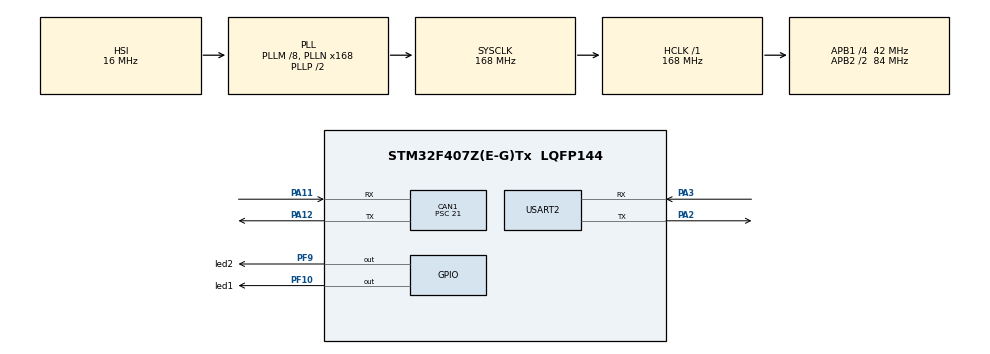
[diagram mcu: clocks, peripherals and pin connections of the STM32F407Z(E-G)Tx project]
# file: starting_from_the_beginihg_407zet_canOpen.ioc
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CAN1.BS1=CAN_BS1_2TQ
CAN1.CalculateBaudRate=500000
CAN1.CalculateTimeBit=2000
CAN1.CalculateTimeQuantum=500.0
CAN1.Prescaler=21
Mcu.Family=STM32F4
Mcu.Name=STM32F407Z(E-G)Tx
Mcu.Package=LQFP144
NVIC.CAN1_RX0_IRQn=true\:0\:0\:false\:false\:true\:true\:true\:true
NVIC.CAN1_RX1_IRQn=true\:0\:0\:false\:false\:true\:true\:true\:true
NVIC.CAN1_SCE_IRQn=true\:0\:0\:false\:false\:true\:true\:true\:true
NVIC.CAN1_TX_IRQn=true\:0\:0\:false\:false\:true\:true\:true\:true
NVIC.PriorityGroup=NVIC_PRIORITYGROUP_4
NVIC.TIM8_TRG_COM_TIM14_IRQn=true\:0\:0\:false\:false\:true\:true\:true\:true
NVIC.USART2_IRQn=true\:0\:0\:false\:false\:true\:true\:true\:true
PA11.Mode=CAN_Activate
PA11.Signal=CAN1_RX
PA12.Mode=CAN_Activate
PA12.Signal=CAN1_TX
PA13.Mode=Serial_Wire
PA13.Signal=SYS_JTMS-SWDIO
PA14.Mode=Serial_Wire
PA14.Signal=SYS_JTCK-SWCLK
PA2.Mode=Asynchronous
PA2.Signal=USART2_TX
PA3.Mode=Asynchronous
PA3.Signal=USART2_RX
PC14-OSC32_IN.Mode=LSE-External-Oscillator
PC14-OSC32_IN.Signal=RCC_OSC32_IN
PC15-OSC32_OUT.Mode=LSE-External-Oscillator
PC15-OSC32_OUT.Signal=RCC_OSC32_OUT
PF10.GPIO_Label=led1
PF10.Signal=GPIO_Output
PF9.GPIO_Label=led2
PF9.Signal=GPIO_Output
PH0-OSC_IN.Mode=HSE-External-Oscillator
PH0-OSC_IN.Signal=RCC_OSC_IN
PH1-OSC_OUT.Mode=HSE-External-Oscillator
PH1-OSC_OUT.Signal=RCC_OSC_OUT
ProjectManager.HeapSize=0x200
ProjectManager.StackSize=0x400
ProjectManager.TargetToolchain=STM32CubeIDE
RCC.48MHZClocksFreq_Value=84000000
RCC.AHBFreq_Value=168000000
RCC.APB1CLKDivider=RCC_HCLK_DIV4
RCC.APB1Freq_Value=42000000
RCC.APB1TimFreq_Value=84000000
RCC.APB2CLKDivider=RCC_HCLK_DIV2
RCC.APB2Freq_Value=84000000
RCC.APB2TimFreq_Value=168000000
RCC.CortexFreq_Value=168000000
RCC.HCLKFreq_Value=168000000
RCC.HSE_VALUE=8000000
RCC.HSI_VALUE=16000000
RCC.PLLM=8
RCC.PLLN=168
RCC.SYSCLKFreq_VALUE=168000000
RCC.SYSCLKSource=RCC_SYSCLKSOURCE_PLLCLK
RCC.VCOOutputFreq_Value=336000000
TIM14.Period=1000
TIM14.Prescaler=63
USART2.VirtualMode=VM_ASYNC
VP_TIM14_VS_ClockSourceINT.Mode=Enable_Timer
board=custom

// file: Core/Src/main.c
/* USER CODE BEGIN Header */
/**
  ******************************************************************************
  * @file           : main.c
  * @brief          : Main program body
  ******************************************************************************
  * @attention
  *
  * Copyright (c) 2024 STMicroelectronics.
  * All rights reserved.
  *
  * This software is licensed under terms that can be found in the LICENSE file
  * in the root directory of this software component.
  * If no LICENSE file comes with this software, it is provided AS-IS.
  *
  ******************************************************************************
  */
  /* USER CODE END Header */
  /* Includes ------------------------------------------------------------------*/
#include "main.h"

/* USER CODE BEGIN Includes */
#include "CO_app_STM32.h"
#include "../CANopenNode_STM32/OD.h"
#include "../CANopenNode/301/CO_driver.h"
#include "../CANopenNode/301/CO_SDOserver.h"
#include "../CANopenNode/301/CO_SDOclient.h"
#include "../CANopenNode/301/CO_NMT_Heartbeat.h"
#include "../CANopenNode/301/CO_PDO.h"
#include "../CANopenNode/301/CO_HBconsumer.h"
#include "../CANopenNode/CANopen.h"
#include "string.h"
#include <stdio.h>

/* USER CODE END Includes */

/* USER CODE BEGIN PD */
#define MASTER_NODE_ID 66
#define WHEEL_NODE_ID 0x16
/* USER CODE END PD */

CAN_HandleTypeDef hcan1;

TIM_HandleTypeDef htim14;

UART_HandleTypeDef huart2;

CO_SDOclient_t SDO_C;
CO_NMT_t NMT;
CO_CANmodule_t CANmodule;
uint8_t heartBeatData[8];
CO_CANrx_t CANrxArray[16]; // Массив буферов приема CAN сообщений
CO_CANtx_t CANtxArray[16]; // Массив буферов передачи CAN сообщений

void SystemClock_Config(void);
static void MX_GPIO_Init(void);
static void MX_CAN1_Init(void);
static void MX_TIM14_Init(void);
static void MX_USART2_UART_Init(void);

/* USER CODE BEGIN 0 */

// Функция обработки сообщений CAN
void CAN_receive(void* object, void* message) {
    CO_CANrxMsg_t* msg = (CO_CANrxMsg_t*)message;
    uint16_t canID = msg->ident;

    // Проверка на Heartbeat сообщение
    if (canID == (0x700 + WHEEL_NODE_ID)) {
        memcpy(heartBeatData, msg->data, 8);
        // Отправка данных через UART
        HAL_UART_Transmit(&huart2, (uint8_t*)"Heartbeat message received: ", strlen("Heartbeat message received: "), HAL_MAX_DELAY);
        HAL_UART_Transmit(&huart2, heartBeatData, 8, HAL_MAX_DELAY);
        HAL_UART_Transmit(&huart2, (uint8_t*)"\r\n", 2, HAL_MAX_DELAY);
    }
    else {
        HAL_UART_Transmit(&huart2, (uint8_t*)"Received CAN message with ID: ", strlen("Received CAN message with ID: "), HAL_MAX_DELAY);
        char idStr[10];
        sprintf(idStr, "0x%X", canID);
        HAL_UART_Transmit(&huart2, (uint8_t*)idStr, strlen(idStr), HAL_MAX_DELAY);
        HAL_UART_Transmit(&huart2, (uint8_t*)"\r\n", 2, HAL_MAX_DELAY);
    }
}

void HAL_TIM_PeriodElapsedCallback(TIM_HandleTypeDef* htim) {
    if (htim == &htim14) {
        canopen_app_interrupt();
    }
}

void disable_CAN_transmission(CO_CANmodule_t* CANmodule) {
    CANmodule->CANerrorStatus |= CO_CAN_ERRTX_BUS_OFF;
    // Дополнительно можно вызвать функцию, которая обработает это состояние
    CO_CANmodule_disable(CANmodule);
}

// Инициализация CANopen
void CANopen_init() {
    CO_ReturnError_t err;

    // Инициализация CAN модуля
    HAL_UART_Transmit(&huart2, (uint8_t*)"Initializing CAN module...\r\n", strlen("Initializing CAN module...\r\n"), HAL_MAX_DELAY);
    err = CO_CANmodule_init(&CANmodule, CAN1, CANrxArray, sizeof(CANrxArray) / sizeof(CANrxArray[0]), CANtxArray, sizeof(CANtxArray) / sizeof(CANtxArray[0]), 500);
    if (err != CO_ERROR_NO) {
        // Обработка ошибки
        HAL_UART_Transmit(&huart2, (uint8_t*)"CAN module initialization failed\r\n", strlen("CAN module initialization failed\r\n"), HAL_MAX_DELAY);
        return;
    }
    HAL_UART_Transmit(&huart2, (uint8_t*)"CAN module initialized successfully\r\n", strlen("CAN module initialized successfully\r\n"), HAL_MAX_DELAY);

    // Настройка функции обработки сообщений CAN
    HAL_UART_Transmit(&huart2, (uint8_t*)"Initializing CAN receive buffer...\r\n", strlen("Initializing CAN receive buffer...\r\n"), HAL_MAX_DELAY);
    CO_CANrxBufferInit(&CANmodule, 0, 0x700 + WHEEL_NODE_ID, 0x7FF, 0, NULL, CAN_receive);

    OD_entry_t* OD_1017_ProducerHbTime = OD_ENTRY_H1017;
    OD_entry_t* OD_1280_SDOcliPar = OD_ENTRY_H1280;

    uint32_t errInfo = 0;

    // Инициализация NMT и Heartbeat
    HAL_UART_Transmit(&huart2, (uint8_t*)"Initializing NMT and Heartbeat...\r\n", strlen("Initializing NMT and Heartbeat...\r\n"), HAL_MAX_DELAY);
    err = CO_NMT_init(&NMT, OD_1017_ProducerHbTime, NULL, MASTER_NODE_ID, 0, 0, &CANmodule, 0, 0x700 + MASTER_NODE_ID, &CANmodule, 0, 0x700 + MASTER_NODE_ID, &errInfo);
    if (err != CO_ERROR_NO) {
        // Обработка ошибки
        HAL_UART_Transmit(&huart2, (uint8_t*)"NMT initialization failed\r\n", strlen("NMT initialization failed\r\n"), HAL_MAX_DELAY);
        return;
    }
    HAL_UART_Transmit(&huart2, (uint8_t*)"NMT and Heartbeat initialized successfully\r\n", strlen("NMT and Heartbeat initialized successfully\r\n"), HAL_MAX_DELAY);

    // Инициализация SDO client
    HAL_UART_Transmit(&huart2, (uint8_t*)"Initializing SDO client...\r\n", strlen("Initializing SDO client...\r\n"), HAL_MAX_DELAY);
    err = CO_SDOclient_init(&SDO_C, OD, OD_1280_SDOcliPar, MASTER_NODE_ID, &CANmodule, 0, &CANmodule, 0, NULL);
    if (err != CO_ERROR_NO) {
        // Обработка ошибки
        HAL_UART_Transmit(&huart2, (uint8_t*)"SDO client initialization failed\r\n", strlen("SDO client initialization failed\r\n"), HAL_MAX_DELAY);
        return;
    }
    HAL_UART_Transmit(&huart2, (uint8_t*)"SDO client initialized successfully\r\n", strlen("SDO client initialized successfully\r\n"), HAL_MAX_DELAY);
}

// Пример функции чтения SDO
CO_SDO_abortCode_t read_SDO(CO_SDOclient_t* SDO_C, uint8_t nodeId,
    uint16_t index, uint8_t subIndex,
    uint8_t* buf, size_t bufSize, size_t* readSize)
{
    CO_SDO_return_t SDO_ret;

    // Настройка клиента
    SDO_ret = CO_SDOclient_setup(SDO_C, CO_CAN_ID_SDO_CLI + nodeId, CO_CAN_ID_SDO_SRV + nodeId, nodeId);
    if (SDO_ret != CO_SDO_RT_ok_communicationEnd) {
        return CO_SDO_AB_GENERAL;
    }

    // Инициация чтения
    SDO_ret = CO_SDOclientUploadInitiate(SDO_C, index, subIndex, 1000, 0);
    if (SDO_ret != CO_SDO_RT_ok_communicationEnd) {
        return CO_SDO_AB_GENERAL;
    }

    // Чтение данных
    size_t nRead;
    do {
        uint32_t timeDifference_us = 10000;
        CO_SDO_abortCode_t abortCode;

        SDO_ret = CO_SDOclientUpload(SDO_C, timeDifference_us, false, false, &abortCode, NULL, NULL);
        if (SDO_ret < 0) {
            return abortCode;
        }
    } while (SDO_ret > 0);

    // Копирование данных
    nRead = CO_SDOclientUploadBufRead(SDO_C, buf, bufSize);
    if (readSize) {
        *readSize = nRead;
    }

    return CO_SDO_AB_NONE;
}

int main(void)
{

    /* MCU Configuration--------------------------------------------------------*/

    /* Reset of all peripherals, Initializes the Flash interface and the Systick. */
    HAL_Init();

    /* Configure the system clock */
    SystemClock_Config();

    /* Initialize all configured peripherals */
    MX_GPIO_Init();
    MX_CAN1_Init();
    MX_TIM14_Init();
    MX_USART2_UART_Init();
    /* USER CODE BEGIN 2 */
    HAL_UART_Transmit(&huart2, (uint8_t*)"Starting initialization\r\n", strlen("Starting initialization\r\n"), HAL_MAX_DELAY);

    CANopenNodeSTM32 canOpenNodeSTM32;
    canOpenNodeSTM32.CANHandle = &hcan1;
    canOpenNodeSTM32.HWInitFunction = MX_CAN1_Init;
    canOpenNodeSTM32.timerHandle = &htim14;
    canOpenNodeSTM32.desiredNodeID = MASTER_NODE_ID;
    canOpenNodeSTM32.baudrate = 500;
    canopen_app_init(&canOpenNodeSTM32);

    HAL_UART_Transmit(&huart2, (uint8_t*)"CAN module initialization\r\n", strlen("CAN module initialization\r\n"), HAL_MAX_DELAY);

    CANopen_init();

    // Пример чтения SDO
    uint8_t buffer[8];
    size_t readSize;
    CO_SDO_abortCode_t sdoAbortCode = read_SDO(&SDO_C, WHEEL_NODE_ID, 0x1018, 0x00, buffer, sizeof(buffer), &readSize);
    if (sdoAbortCode == CO_SDO_AB_NONE) {
        HAL_UART_Transmit(&huart2, (uint8_t*)"SDO read successful\r\n", strlen("SDO read successful\r\n"), HAL_MAX_DELAY);
    }
    else {
        HAL_UART_Transmit(&huart2, (uint8_t*)"SDO read failed\r\n", strlen("SDO read failed\r\n"), HAL_MAX_DELAY);
    }

    /* USER CODE END 2 */

    /* Infinite loop */
    while (1)
    {
        canopen_app_process();
        /* USER CODE END WHILE */

    }
}

void SystemClock_Config(void)
{
    RCC_OscInitTypeDef RCC_OscInitStruct = { 0 };
    RCC_ClkInitTypeDef RCC_ClkInitStruct = { 0 };

    /** Configure the main internal regulator output voltage
    */
    __HAL_RCC_PWR_CLK_ENABLE();
    __HAL_PWR_VOLTAGESCALING_CONFIG(PWR_REGULATOR_VOLTAGE_SCALE1);

    /** Initializes the RCC Oscillators according to the specified parameters
    * in the RCC_OscInitTypeDef structure.
    */
    RCC_OscInitStruct.OscillatorType = RCC_OSCILLATORTYPE_HSI;
    RCC_OscInitStruct.HSIState = RCC_HSI_ON;
    RCC_OscInitStruct.HSICalibrationValue = RCC_HSICALIBRATION_DEFAULT;
    RCC_OscInitStruct.PLL.PLLState = RCC_PLL_ON;
    RCC_OscInitStruct.PLL.PLLSource = RCC_PLLSOURCE_HSI;
    RCC_OscInitStruct.PLL.PLLM = 8;
    RCC_OscInitStruct.PLL.PLLN = 168;
    RCC_OscInitStruct.PLL.PLLP = RCC_PLLP_DIV2;
    RCC_OscInitStruct.PLL.PLLQ = 4;
    if (HAL_RCC_OscConfig(&RCC_OscInitStruct) != HAL_OK)
    {
        Error_Handler();
    }

    /** Initializes the CPU, AHB and APB buses clocks
    */
    RCC_ClkInitStruct.ClockType = RCC_CLOCKTYPE_HCLK | RCC_CLOCKTYPE_SYSCLK
        | RCC_CLOCKTYPE_PCLK1 | RCC_CLOCKTYPE_PCLK2;
    RCC_ClkInitStruct.SYSCLKSource = RCC_SYSCLKSOURCE_PLLCLK;
    RCC_ClkInitStruct.AHBCLKDivider = RCC_SYSCLK_DIV1;
    RCC_ClkInitStruct.APB1CLKDivider = RCC_HCLK_DIV4;
    RCC_ClkInitStruct.APB2CLKDivider = RCC_HCLK_DIV2;

    if (HAL_RCC_ClockConfig(&RCC_ClkInitStruct, FLASH_LATENCY_5) != HAL_OK)
    {
        Error_Handler();
    }
}

static void MX_CAN1_Init(void)
{

    hcan1.Instance = CAN1;
    hcan1.Init.Prescaler = 21;
    hcan1.Init.Mode = CAN_MODE_NORMAL;
    hcan1.Init.SyncJumpWidth = CAN_SJW_1TQ;
    hcan1.Init.TimeSeg1 = CAN_BS1_2TQ;
    hcan1.Init.TimeSeg2 = CAN_BS2_1TQ;
    hcan1.Init.TimeTriggeredMode = DISABLE;
    hcan1.Init.AutoBusOff = DISABLE;
    hcan1.Init.AutoWakeUp = DISABLE;
    hcan1.Init.AutoRetransmission = DISABLE;
    hcan1.Init.ReceiveFifoLocked = DISABLE;
    hcan1.Init.TransmitFifoPriority = DISABLE;
    if (HAL_CAN_Init(&hcan1) != HAL_OK)
    {
        Error_Handler();
    }

}

static void MX_TIM14_Init(void)
{

    htim14.Instance = TIM14;
    htim14.Init.Prescaler = 63;
    htim14.Init.CounterMode = TIM_COUNTERMODE_UP;
    htim14.Init.Period = 1000;
    htim14.Init.ClockDivision = TIM_CLOCKDIVISION_DIV1;
    htim14.Init.AutoReloadPreload = TIM_AUTORELOAD_PRELOAD_DISABLE;
    if (HAL_TIM_Base_Init(&htim14) != HAL_OK)
    {
        Error_Handler();
    }

}

static void MX_USART2_UART_Init(void)
{

    huart2.Instance = USART2;
    huart2.Init.BaudRate = 115200;
    huart2.Init.WordLength = UART_WORDLENGTH_8B;
    huart2.Init.StopBits = UART_STOPBITS_1;
    huart2.Init.Parity = UART_PARITY_NONE;
    huart2.Init.Mode = UART_MODE_TX_RX;
    huart2.Init.HwFlowCtl = UART_HWCONTROL_NONE;
    huart2.Init.OverSampling = UART_OVERSAMPLING_16;
    if (HAL_UART_Init(&huart2) != HAL_OK)
    {
        Error_Handler();
    }

}

static void MX_GPIO_Init(void)
{
    GPIO_InitTypeDef GPIO_InitStruct = { 0 };

      /* GPIO Ports Clock Enable */
    __HAL_RCC_GPIOC_CLK_ENABLE();
    __HAL_RCC_GPIOF_CLK_ENABLE();
    __HAL_RCC_GPIOH_CLK_ENABLE();
    __HAL_RCC_GPIOA_CLK_ENABLE();

    /*Configure GPIO pin Output Level */
    HAL_GPIO_WritePin(GPIOF, led2_Pin | led1_Pin, GPIO_PIN_RESET);

    /*Configure GPIO pins : led2_Pin led1_Pin */
    GPIO_InitStruct.Pin = led2_Pin | led1_Pin;
    GPIO_InitStruct.Mode = GPIO_MODE_OUTPUT_PP;
    GPIO_InitStruct.Pull = GPIO_NOPULL;
    GPIO_InitStruct.Speed = GPIO_SPEED_FREQ_LOW;
    HAL_GPIO_Init(GPIOF, &GPIO_InitStruct);

}

void Error_Handler(void)
{
    __disable_irq();
    while (1)
    {
    }
}
